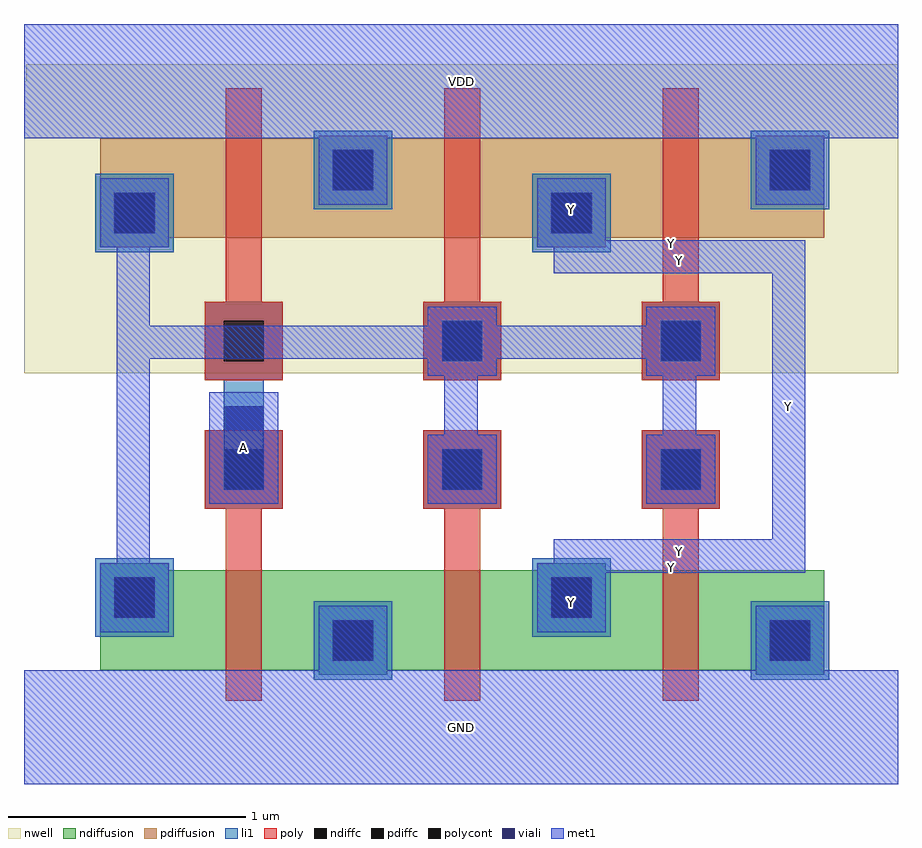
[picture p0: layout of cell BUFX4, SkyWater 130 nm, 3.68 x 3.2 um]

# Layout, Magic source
magic
# Generated by librecell
tech sky130A
<< nwell >>
rect 0 149 368 272
rect 1 272 368 279
<< viali >>
<< viali >>
rect 84 117 101 118
rect 130 28 147 45
rect 314 28 331 45
rect 38 46 55 63
rect 222 46 239 63
rect 84 100 101 117
rect 176 100 193 117
rect 268 100 285 117
rect 84 118 101 135
rect 176 154 193 171
rect 268 154 285 171
rect 38 208 55 225
rect 222 208 239 225
rect 130 226 147 243
rect 314 226 331 243
<< poly >>
rect 85 11 100 92
rect 76 92 109 125
rect 177 11 192 92
rect 168 92 201 125
rect 269 11 284 92
rect 260 92 293 125
rect 76 146 109 179
rect 85 179 100 269
rect 168 146 201 179
rect 177 179 192 269
rect 260 146 293 179
rect 269 179 284 269
<< properties >>
string FIXED_BBOX 0 0 368 272
<< li1 >>
rect 122 20 155 53
rect 306 20 339 53
rect 30 38 63 71
rect 214 38 247 71
rect 168 92 201 125
rect 260 92 293 125
rect 76 92 109 125
rect 84 125 101 146
rect 76 146 109 179
rect 168 146 201 179
rect 260 146 293 179
rect 30 200 63 233
rect 214 200 247 233
rect 122 218 155 251
rect 306 218 339 251
<< met1 >>
rect 0 -24 368 24
rect 124 24 153 51
rect 308 24 337 51
rect 78 94 107 141
rect 32 40 61 69
rect 170 94 199 123
rect 262 94 291 123
rect 177 123 191 148
rect 269 123 283 148
rect 39 69 53 155
rect 170 148 199 155
rect 262 148 291 155
rect 39 155 291 169
rect 170 169 199 177
rect 262 169 291 177
rect 39 169 53 202
rect 32 202 61 231
rect 216 40 245 65
rect 216 65 329 69
rect 223 69 329 79
rect 315 79 329 191
rect 223 191 329 202
rect 216 202 329 205
rect 216 205 245 231
rect 124 220 153 248
rect 308 220 337 248
rect 0 248 368 296
<< li1 >>
<< met1 >>
<< li1 >>
<< met1 >>
rect 0 -24 368 24
rect 78 94 107 141
rect 216 40 245 65
rect 216 65 329 69
rect 223 69 329 79
rect 315 79 329 191
rect 223 191 329 202
rect 216 202 329 205
rect 216 205 245 231
rect 0 248 368 296
<< ndiffusion >>
rect 124 22 153 24
rect 308 22 337 24
rect 32 24 337 66
rect 32 66 61 69
rect 216 66 245 69
<< pdiffusion >>
rect 32 202 61 206
rect 216 202 245 206
rect 32 206 337 248
rect 124 248 153 249
rect 308 248 337 249
<< polycont >>
rect 84 100 101 117
rect 176 100 193 117
rect 268 100 285 117
rect 84 154 101 171
rect 176 154 193 171
rect 268 154 285 171
<< pdiffc >>
rect 38 208 55 225
rect 222 208 239 225
rect 130 226 147 243
rect 314 226 331 243
<< ndiffc >>
rect 130 28 147 45
rect 314 28 331 45
rect 38 46 55 63
rect 222 46 239 63
<< labels >>
rlabel metal2 0 248 368 296 0 VDD
port 1 se
rlabel metal2 0 -24 368 24 0 GND
port 2 se
rlabel metal2 216 40 245 65 0 Y
port 3 se
rlabel metal2 216 65 329 69 0 Y
port 4 se
rlabel metal2 223 69 329 79 0 Y
port 5 se
rlabel metal2 315 79 329 191 0 Y
port 6 se
rlabel metal2 223 191 329 202 0 Y
port 7 se
rlabel metal2 216 202 329 205 0 Y
port 8 se
rlabel metal2 216 205 245 231 0 Y
port 9 se
rlabel metal2 78 94 107 141 0 A
port 10 se
<< end >>
